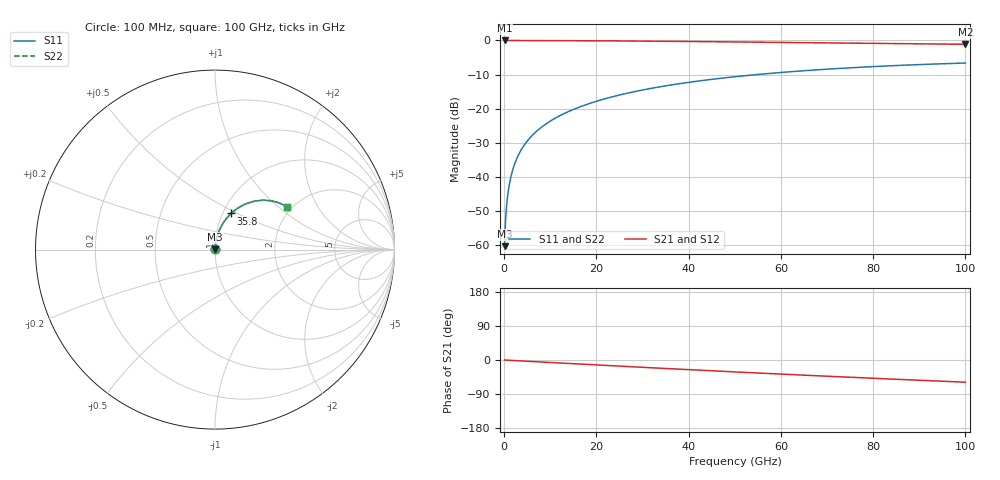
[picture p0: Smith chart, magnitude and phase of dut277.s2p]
! Touchstone file exported from HFSS 2026.1.0
!  File:  C:/ffzhzh/LocalFiles/Ansys_Project_Files/temp_train_RDL_277_1783501974_9504.aedt
!  Generated:  05:14:08 PM Jul  8, 2026
!  Design:  RDL
!  Project:  temp_train_RDL_277_1783501974_9504
! Variables:
!  h_bsmrdl = 2um
!  h_ox = 20um
!  h_rdl = 5um
!  h_sub = 80um
!  h_tmrdl = 4.35um
!  h_tsv = 80um
!  h_via = 3um
!  l_bsmrdl = 300um
!  l_sub = 547.78um
!  l_tmrdl = 147.78um
!  m_sub = 200um
!  pitch = 58.17um
!  r_tsv = 6um
!  s_tmrdl = 10um
!  w_bsmrdl = 18um
!  w_sub = 500um
!  w_tmrdl = 28.98um
!  x_tsv_center1 = 162.27um
!  x_tsv_center2 = 480.27um
!  x_tsv_center3 = 657.03um
!  x_tsv_center4 = 975.03um
!  x_tsv_center5 = 1151.79um
!  x_tsv_center6 = 1469.79um
# GHz S MA R 50.000000
! Terminal data exported
! Port[1] = TM_RDL1_1_T1
! Port[2] = TM_RDL1_1_T2
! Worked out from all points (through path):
!   1000 points, 100 MHz to 100 GHz, reference 50 ohm
!   highest |S21| = -0.01 dB at 100 MHz (marker M1); lowest = -1.1 dB at 100 GHz (marker M2)
!   group delay of S21, straight-line fit = 1.63 ps
!   lowest |S11| = -60.3 dB at 100 MHz (marker M3), VSWR 1.00, Z = 50.1 + j0.0741 ohm
!   |S11| at or under -10 dB: start of sweep to 54.82 GHz
!   |S22| runs from -60.3 to -6.6 dB; largest |S21 - S12| = 4e-15
!   S11 on the Smith chart (normalised r, x): 100 MHz: 1.00, +0.00; 35.8 GHz: 1.09, +0.46; 100 GHz: 1.88, +1.15
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0.1  0.000963 50.2  0.9994 -0.1  0.9994 -0.1  0.000963 50.2
! Gamma 0 0 0 0
! Port Impedance 50 0 50 0
0.4  0.002889 75.2  0.9993 -0.3  0.9993 -0.3  0.002889 75.2
0.7  0.00487 80.4  0.9992 -0.5  0.9992 -0.5  0.00487 80.4
0.8  0.005537 81.4  0.9992 -0.5  0.9992 -0.5  0.005537 81.4
1.1  0.007545 83.1  0.9992 -0.7  0.9992 -0.7  0.007545 83.1
1.4  0.00956 84.0  0.9991 -0.9  0.9991 -0.9  0.00956 84.0
1.9  0.01292 84.7  0.999 -1.3  0.999 -1.3  0.01292 84.7
2.4  0.01627 84.9  0.9989 -1.6  0.9989 -1.6  0.01627 84.9
3.1  0.02093 84.9  0.9987 -2.1  0.9987 -2.1  0.02093 84.9
3.9  0.02623 84.6  0.9984 -2.6  0.9984 -2.6  0.02623 84.6
4.9  0.03279 84.2  0.998 -3.3  0.998 -3.3  0.03279 84.2
6  0.03996 83.6  0.9975 -4.0  0.9975 -4.0  0.03996 83.6
8.8  0.058 82.1  0.9962 -5.8  0.9962 -5.8  0.058 82.1
12.4  0.08091 80.1  0.9942 -8.1  0.9942 -8.1  0.08091 80.1
16.8  0.1085 77.5  0.9911 -11.0  0.9911 -11.0  0.1085 77.5
24.2  0.1536 73.0  0.9846 -15.7  0.9846 -15.7  0.1536 73.0
33.4  0.207 67.4  0.9742 -21.4  0.9742 -21.4  0.207 67.5
35.8  0.2203 66.0  0.9712 -22.9  0.9712 -22.9  0.2203 66.0
50.1  0.2941 57.6  0.9509 -31.5  0.9509 -31.5  0.2941 57.6
66.7  0.3664 48.2  0.9251 -41.0  0.9251 -41.0  0.3664 48.2
83.4  0.424 39.3  0.9001 -50.0  0.9001 -50.0  0.424 39.3
100  0.4664 30.8  0.8787 -58.6  0.8787 -58.6  0.4664 30.9
